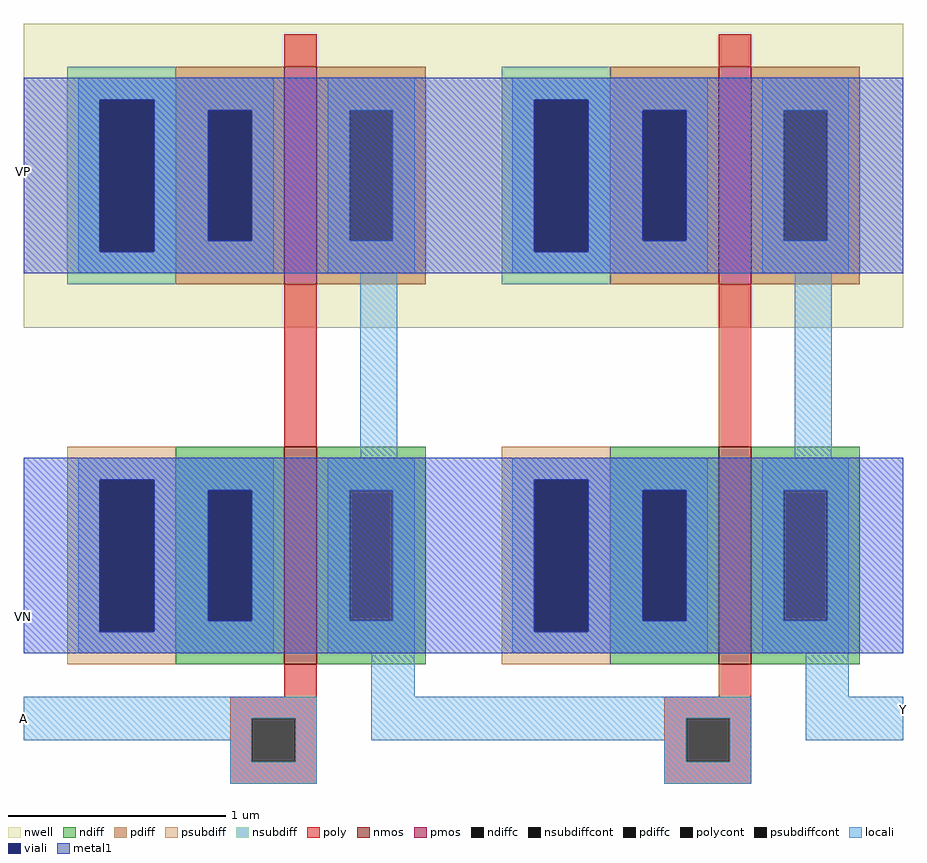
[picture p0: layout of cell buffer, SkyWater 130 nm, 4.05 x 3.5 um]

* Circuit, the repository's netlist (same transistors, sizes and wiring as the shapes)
* SPICE3 file created from buffer.ext - technology: sky130A

.subckt cmos VIN VOUT VP VN
X0 VOUT VIN VN VN sky130_fd_pr__nfet_01v8 ad=0.5 pd=3 as=0.5 ps=3 w=1 l=0.15
X1 VOUT VIN VP VP sky130_fd_pr__pfet_01v8 ad=0.5 pd=3 as=0.5 ps=3 w=1 l=0.15
.ends


Xcmos_0 A cmos_1/VIN cmos_1/VP VP cmos
Xcmos_1 cmos_1/VIN Y cmos_1/VP VP cmos
.end

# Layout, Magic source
magic
tech sky130A
<< nwell >>
rect -315 180 90 320
<< nmos >>
rect -195 25 -180 125
rect 5 25 20 125
<< pmos >>
rect -195 200 -180 300
rect 5 200 20 300
<< ndiff >>
rect -245 105 -195 125
rect -245 45 -230 105
rect -210 45 -195 105
rect -245 25 -195 45
rect -180 105 -130 125
rect -180 45 -165 105
rect -145 45 -130 105
rect -180 25 -130 45
rect -45 105 5 125
rect -45 45 -30 105
rect -10 45 5 105
rect -45 25 5 45
rect 20 105 70 125
rect 20 45 35 105
rect 55 45 70 105
rect 20 25 70 45
<< pdiff >>
rect -245 280 -195 300
rect -245 220 -230 280
rect -210 220 -195 280
rect -245 200 -195 220
rect -180 280 -130 300
rect -180 220 -165 280
rect -145 220 -130 280
rect -180 200 -130 220
rect -45 280 5 300
rect -45 220 -30 280
rect -10 220 5 280
rect -45 200 5 220
rect 20 280 70 300
rect 20 220 35 280
rect 55 220 70 280
rect 20 200 70 220
<< ndiffc >>
rect -230 45 -210 105
rect -165 45 -145 105
rect -30 45 -10 105
rect 35 45 55 105
<< pdiffc >>
rect -230 220 -210 280
rect -165 220 -145 280
rect -30 220 -10 280
rect 35 220 55 280
<< psubdiff >>
rect -295 110 -245 125
rect -295 40 -280 110
rect -255 40 -245 110
rect -295 25 -245 40
rect -95 110 -45 125
rect -95 40 -80 110
rect -55 40 -45 110
rect -95 25 -45 40
<< nsubdiff >>
rect -295 285 -245 300
rect -295 215 -280 285
rect -255 215 -245 285
rect -295 200 -245 215
rect -95 285 -45 300
rect -95 215 -80 285
rect -55 215 -45 285
rect -95 200 -45 215
<< psubdiffcont >>
rect -280 40 -255 110
rect -80 40 -55 110
<< nsubdiffcont >>
rect -280 215 -255 285
rect -80 215 -55 285
<< poly >>
rect -195 300 -180 315
rect 5 300 20 315
rect -195 125 -180 200
rect 5 125 20 200
rect -195 10 -180 25
rect 5 10 20 25
rect -220 0 -180 10
rect -220 -20 -210 0
rect -190 -20 -180 0
rect -220 -30 -180 -20
rect -20 0 20 10
rect -20 -20 -10 0
rect 10 -20 20 0
rect -20 -30 20 -20
<< polycont >>
rect -210 -20 -190 0
rect -10 -20 10 0
<< locali >>
rect -290 285 -200 295
rect -290 215 -280 285
rect -255 280 -200 285
rect -255 220 -230 280
rect -210 220 -200 280
rect -255 215 -200 220
rect -290 205 -200 215
rect -175 280 -135 295
rect -175 220 -165 280
rect -145 220 -135 280
rect -175 205 -135 220
rect -90 285 0 295
rect -90 215 -80 285
rect -55 280 0 285
rect -55 220 -30 280
rect -10 220 0 280
rect -55 215 0 220
rect -90 205 0 215
rect 25 280 65 295
rect 25 220 35 280
rect 55 220 65 280
rect 25 205 65 220
rect -160 120 -143 205
rect 40 120 57 205
rect -290 110 -200 120
rect -290 40 -280 110
rect -255 105 -200 110
rect -255 45 -230 105
rect -210 45 -200 105
rect -255 40 -200 45
rect -290 30 -200 40
rect -175 105 -135 120
rect -175 45 -165 105
rect -145 45 -135 105
rect -175 30 -135 45
rect -90 110 0 120
rect -90 40 -80 110
rect -55 105 0 110
rect -55 45 -30 105
rect -10 45 0 105
rect -55 40 0 45
rect -90 30 0 40
rect 25 105 65 120
rect 25 45 35 105
rect 55 45 65 105
rect 25 30 65 45
rect -155 10 -135 30
rect 45 10 65 30
rect -315 0 -180 10
rect -315 -10 -210 0
rect -220 -20 -210 -10
rect -190 -20 -180 0
rect -155 0 20 10
rect -155 -10 -10 0
rect -220 -30 -180 -20
rect -20 -20 -10 -10
rect 10 -20 20 0
rect 45 -10 90 10
rect -20 -30 20 -20
<< viali >>
rect -280 215 -255 285
rect -230 220 -210 280
rect -80 215 -55 285
rect -30 220 -10 280
rect -280 40 -255 110
rect -230 45 -210 105
rect -80 40 -55 110
rect -30 45 -10 105
<< metal1 >>
rect -315 285 90 295
rect -315 215 -280 285
rect -255 280 -80 285
rect -255 220 -230 280
rect -210 220 -80 280
rect -255 215 -80 220
rect -55 280 90 285
rect -55 220 -30 280
rect -10 220 90 280
rect -55 215 90 220
rect -315 205 90 215
rect -315 110 90 120
rect -315 40 -280 110
rect -255 105 -80 110
rect -255 45 -230 105
rect -210 45 -80 105
rect -255 40 -80 45
rect -55 105 90 110
rect -55 45 -30 105
rect -10 45 90 105
rect -55 40 90 45
rect -315 30 90 40
<< labels >>
rlabel metal1 -315 252 -315 252 3 VP
port 3 e
rlabel metal1 -315 47 -315 47 3 VN
port 4 e
rlabel locali -315 0 -315 0 7 A
port 1 w
rlabel locali 90 4 90 4 3 Y
port 2 e
<< end >>
